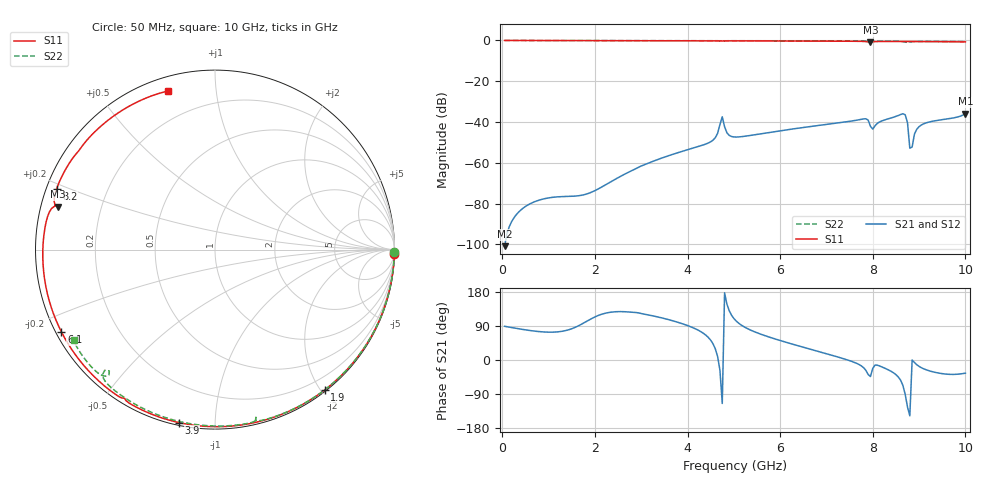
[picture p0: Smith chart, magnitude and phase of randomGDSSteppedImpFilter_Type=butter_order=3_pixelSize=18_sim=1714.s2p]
! freq	dB(S11)	phase(S11)	dB(S12)	phase(S12)
!  dB(S21)	phase(S21)	dB(S22)	phase(S22)
!S-par simulation data
#  GHz  S  DB  R 50
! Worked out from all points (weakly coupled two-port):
!   200 points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, 50 MHz to 10 GHz, reference 50 ohm
!   highest |S21| = -35.90 dB at 10 GHz (marker M1); lowest = -100.8 dB at 50 MHz (marker M2)
!   lowest |S11| = -0.8 dB at 7.95 GHz (marker M3), VSWR 21.04, Z = 2.42 + j6.68 ohm
!   |S11| at or under -10 dB: nowhere
!   |S22| runs from -1.0 to 0.0 dB; largest |S21 - S12| = 0
!   S11 on the Smith chart (normalised r, x): 50 MHz: 0, -81; 1.9 GHz: 0.02, -2.05; 3.9 GHz: 0.01, -0.81; 6.1 GHz: 0.02, -0.25; 8.2 GHz: 0.03, +0.18; 10 GHz: 0.06, +0.74
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0.05  -0.00 -1.4  -100.83 88.9  -100.83 88.9  -0.00 -0.9
1.75  -0.06 -48.1  -75.70 97.1  -75.70 97.1  -0.04 -29.6
1.9  -0.07 -52.0  -74.63 107.5  -74.63 107.5  -0.04 -32.1
3.4  -0.12 -89.9  -58.00 112.4  -58.00 112.4  -0.07 -56.2
3.9  -0.14 -101.8  -54.25 95.2  -54.25 95.2  -0.09 -63.9
4.55  -0.17 -116.9  -48.87 42.8  -48.87 42.8  -0.11 -73.9
4.75  -0.27 -121.3  -37.39 -114.7  -37.39 -114.7  -0.34 -76.3
4.85  -0.19 -123.5  -45.23 147.7  -45.23 147.7  -0.14 -77.6
5.05  -0.19 -128.1  -47.34 103.0  -47.34 103.0  -0.13 -80.8
6.1  -0.26 -151.8  -43.94 47.8  -43.94 47.8  -0.17 -95.9
6.7  -0.31 -165.5  -42.05 26.8  -42.05 26.8  -0.20 -104.1
7.85  -0.55 165.8  -38.38 -27.1  -38.38 -27.1  -0.28 -119.7
7.95  -0.83 164.7  -42.07 -43.7  -42.07 -43.7  -0.30 -121.0
8.2  -0.49 159.0  -39.40 -18.4  -39.40 -18.4  -0.31 -124.5
8.35  -0.49 154.9  -38.31 -26.9  -38.31 -26.9  -0.33 -126.6
8.7  -0.54 145.2  -36.40 -90.4  -36.40 -90.4  -0.81 -132.4
8.75  -0.56 144.0  -40.32 -124.1  -40.32 -124.1  -0.95 -131.1
8.8  -0.55 142.7  -52.83 -147.2  -52.83 -147.2  -0.78 -130.2
8.85  -0.55 141.3  -52.20 -0.1  -52.20 -0.1  -0.62 -130.8
8.95  -0.55 138.5  -43.51 -12.4  -43.51 -12.4  -0.49 -132.5
9.05  -0.56 135.6  -41.42 -20.4  -41.42 -20.4  -0.46 -134.1
10  -0.71 106.5  -35.90 -34.9  -35.90 -34.9  -0.57 -147.3
